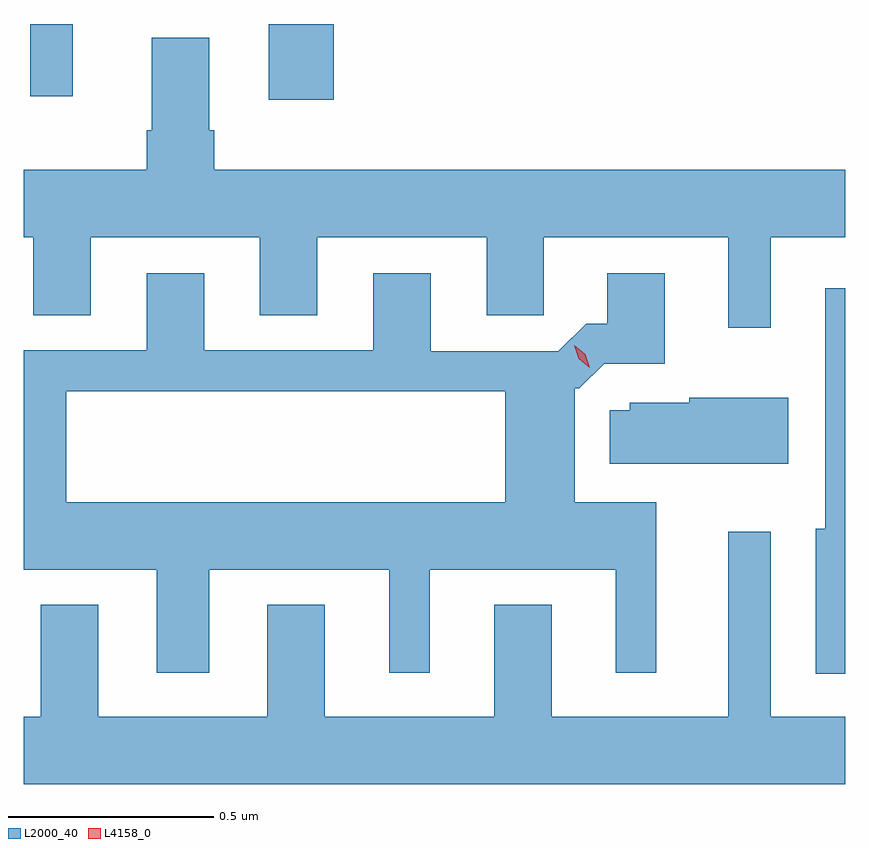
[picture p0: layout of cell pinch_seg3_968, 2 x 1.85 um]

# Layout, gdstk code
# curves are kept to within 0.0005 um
import gdstk
lib = gdstk.Library(unit=1e-6, precision=1e-09)
def R(c, l, rs):  # rectangles x0, y0, x1, y1
    for r in rs: c.add(gdstk.rectangle(r[:2], r[2:], *l))
def P(c, l, *ps):  # polygons
    for p in ps: c.add(gdstk.Polygon(p, *l))
L2000_40 = (2000, 40)
L4158_0 = (4158, 0)

pinch_seg3_968 = lib.new_cell('pinch_seg3_968')
R(pinch_seg3_968, L2000_40, [(409.538,729.222,409.697,729.407), (408.958,729.231,409.061,729.407)])
P(pinch_seg3_968, L2000_40, [(410.761,728.888),(410.942,728.888),(410.942,729.052),(409.406,729.052),(409.406,729.148),(409.393,729.148),(409.393,729.373),(409.253,729.373),(409.253,729.148),(409.241,729.148),(409.241,729.052),(408.942,729.052),(408.942,728.888),(408.965,728.888),(408.965,728.698),(409.105,728.698),(409.105,728.888),(409.517,728.888),(409.517,728.698),(409.657,728.698),(409.657,728.888),(410.069,728.888),(410.069,728.698),(410.208,728.698),(410.208,728.888),(410.657,728.888),(410.657,728.667),(410.761,728.667)],
  [(409.265,728.078),(409.265,727.827),(409.393,727.827),(409.393,728.078),(409.832,728.078),(409.832,727.827),(409.93,727.827),(409.93,728.078),(410.384,728.078),(410.384,727.827),(410.482,727.827),(410.482,728.242),(410.284,728.242),(410.284,728.52),(410.295,728.52),(410.355,728.58),(410.503,728.58),(410.503,728.8),(410.363,728.8),(410.363,728.677),(410.311,728.677),(410.244,728.61),(409.933,728.61),(409.933,728.8),(409.793,728.8),(409.793,728.613),(409.381,728.613),(409.381,728.8),(409.241,728.8),(409.241,728.613),(408.942,728.613),(408.942,728.242),(409.045,728.242),(409.045,728.512),(410.114,728.512),(410.114,728.242),(408.942,728.242),(408.942,728.078)],
  [(410.942,728.764),(410.894,728.764),(410.894,728.178),(410.87,728.178),(410.87,727.824),(410.942,727.824)],
  [(410.803,728.497),(410.562,728.497),(410.562,728.485),(410.418,728.485),(410.418,728.466),(410.369,728.466),(410.369,728.336),(410.803,728.336)],
  [(410.942,727.72),(410.761,727.72),(410.761,728.17),(410.657,728.17),(410.657,727.72),(410.227,727.72),(410.227,727.993),(410.087,727.993),(410.087,727.72),(409.675,727.72),(409.675,727.993),(409.535,727.993),(409.535,727.72),(409.123,727.72),(409.123,727.993),(408.983,727.993),(408.983,727.72),(408.942,727.72),(408.942,727.556),(410.942,727.556)])
P(pinch_seg3_968, L4158_0, [(410.32,728.57),(410.32,728.57),(410.293,728.592),(410.282,728.625),(410.282,728.625),(410.282,728.625),(410.309,728.603),(410.32,728.57)])

lib.write_gds('pinch_seg3_968.gds')
